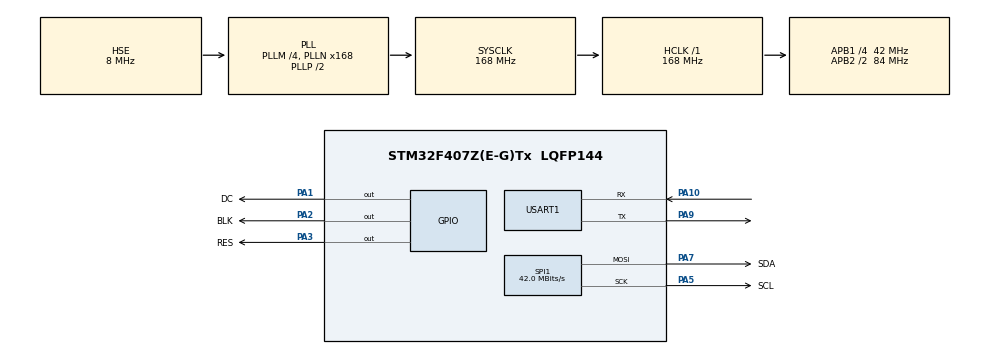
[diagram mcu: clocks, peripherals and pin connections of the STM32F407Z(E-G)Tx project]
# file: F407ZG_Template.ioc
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Dma.Request0=SPI1_TX
Dma.SPI1_TX.0.Direction=DMA_MEMORY_TO_PERIPH
Dma.SPI1_TX.0.FIFOMode=DMA_FIFOMODE_DISABLE
Dma.SPI1_TX.0.Instance=DMA2_Stream3
Dma.SPI1_TX.0.MemDataAlignment=DMA_MDATAALIGN_BYTE
Dma.SPI1_TX.0.MemInc=DMA_MINC_ENABLE
Dma.SPI1_TX.0.Mode=DMA_NORMAL
Dma.SPI1_TX.0.PeriphDataAlignment=DMA_PDATAALIGN_BYTE
Dma.SPI1_TX.0.PeriphInc=DMA_PINC_DISABLE
Dma.SPI1_TX.0.Priority=DMA_PRIORITY_LOW
Mcu.Family=STM32F4
Mcu.Name=STM32F407Z(E-G)Tx
Mcu.Package=LQFP144
NVIC.DMA2_Stream3_IRQn=true\:0\:0\:false\:false\:true\:false\:true
NVIC.PriorityGroup=NVIC_PRIORITYGROUP_4
NVIC.USART1_IRQn=true\:0\:0\:false\:false\:true\:true\:true
PA1.GPIO_Label=DC
PA1.GPIO_PuPd=GPIO_PULLUP
PA1.PinState=GPIO_PIN_SET
PA1.Signal=GPIO_Output
PA10.Mode=Asynchronous
PA10.Signal=USART1_RX
PA13.Mode=Serial_Wire
PA13.Signal=SYS_JTMS-SWDIO
PA14.Mode=Serial_Wire
PA14.Signal=SYS_JTCK-SWCLK
PA2.GPIO_Label=BLK
PA2.GPIO_PuPd=GPIO_PULLUP
PA2.PinState=GPIO_PIN_SET
PA2.Signal=GPIO_Output
PA3.GPIO_Label=RES
PA3.GPIO_PuPd=GPIO_PULLUP
PA3.PinState=GPIO_PIN_SET
PA3.Signal=GPIO_Output
PA5.GPIO_Label=SCL
PA5.Mode=TX_Only_Simplex_Unidirect_Master
PA5.Signal=SPI1_SCK
PA7.GPIO_Label=SDA
PA7.Mode=TX_Only_Simplex_Unidirect_Master
PA7.Signal=SPI1_MOSI
PA9.Mode=Asynchronous
PA9.Signal=USART1_TX
PH0-OSC_IN.Mode=HSE-External-Oscillator
PH0-OSC_IN.Signal=RCC_OSC_IN
PH1-OSC_OUT.Mode=HSE-External-Oscillator
PH1-OSC_OUT.Signal=RCC_OSC_OUT
ProjectManager.HeapSize=0x1000
ProjectManager.StackSize=0x1000
ProjectManager.TargetToolchain=MDK-ARM V5
RCC.48MHZClocksFreq_Value=84000000
RCC.AHBFreq_Value=168000000
RCC.APB1CLKDivider=RCC_HCLK_DIV4
RCC.APB1Freq_Value=42000000
RCC.APB1TimFreq_Value=84000000
RCC.APB2CLKDivider=RCC_HCLK_DIV2
RCC.APB2Freq_Value=84000000
RCC.APB2TimFreq_Value=168000000
RCC.CortexFreq_Value=168000000
RCC.HCLKFreq_Value=168000000
RCC.HSE_VALUE=8000000
RCC.HSI_VALUE=16000000
RCC.LSE_VALUE=32768
RCC.PLLM=4
RCC.PLLN=168
RCC.PLLSourceVirtual=RCC_PLLSOURCE_HSE
RCC.SYSCLKFreq_VALUE=168000000
RCC.SYSCLKSource=RCC_SYSCLKSOURCE_PLLCLK
RCC.VCOOutputFreq_Value=336000000
SPI1.BaudRatePrescaler=SPI_BAUDRATEPRESCALER_2
SPI1.CLKPhase=SPI_PHASE_2EDGE
SPI1.CLKPolarity=SPI_POLARITY_HIGH
SPI1.CalculateBaudRate=42.0 MBits/s
SPI1.Direction=SPI_DIRECTION_2LINES
SPI1.Mode=SPI_MODE_MASTER
SPI1.VirtualType=VM_MASTER
USART1.VirtualMode=VM_ASYNC
board=custom

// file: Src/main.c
/* USER CODE BEGIN Header */
/**
  ******************************************************************************
  * @file           : main.c
  * @brief          : Main program body
  ******************************************************************************
  * @attention
  *
  * <h2><center>&copy; Copyright (c) 2021 STMicroelectronics.
  * All rights reserved.</center></h2>
  *
  * This software component is licensed by ST under BSD 3-Clause license,
  * the "License"; You may not use this file except in compliance with the
  * License. You may obtain a copy of the License at:
  *                        opensource.org/licenses/BSD-3-Clause
  *
  ******************************************************************************
  */
/* USER CODE END Header */
#include "main.h"
#include "dma.h"
#include "spi.h"
#include "usart.h"
#include "gpio.h"

/* USER CODE BEGIN Includes */
#include <stdio.h>
#include "delay.h"
#include "drv_oled.h"
#include "drv_lcd.h"
#include "lcd_pic.h"
/* USER CODE END Includes */

void SystemClock_Config(void);
/* USER CODE BEGIN PFP */
#if 0 //GUI_LITE
void gfx_draw_pixel(int x, int y, unsigned int rgb)
{
    OLED_DrawPoint(x,y,rgb);
}
void gfx_draw_fill(int x, int y,int w, int q, unsigned int rgb)
{
}

struct EXTERNAL_GFX_OP
{
	void (*draw_pixel)(int x, int y, unsigned int rgb);
	void (*fill_rect)(int x0, int y0, int x1, int y1, unsigned int rgb);
} my_gfx_op;
//extern void startHelloCircle(void* phy_fb, int width, int height, int color_bytes, struct EXTERNAL_GFX_OP* gfx_op);
extern void startHello3D(void* phy_fb, int width, int height, int color_bytes, struct EXTERNAL_GFX_OP* gfx_op);

void delay_ms(int milli_seconds)
{
	wait_ms(milli_seconds);
}
#endif
/* USER CODE END PFP */

int main(void)
{

  /* MCU Configuration--------------------------------------------------------*/

  /* Reset of all peripherals, Initializes the Flash interface and the Systick. */
  HAL_Init();

  /* Configure the system clock */
  SystemClock_Config();

  /* Initialize all configured peripherals */
  MX_GPIO_Init();
  MX_USART1_UART_Init();
  MX_DMA_Init();
  MX_SPI1_Init();
  /* USER CODE BEGIN 2 */
#if 0
	OLED_Init();

	printf("hello world!\n");

	my_gfx_op.draw_pixel = gfx_draw_pixel;
	my_gfx_op.fill_rect = NULL;//gfx_fill_rect;
	//startHelloCircle(NULL, 128, 64, 1, &my_gfx_op);
  startHello3D(NULL, 128, 64, 1, &my_gfx_op);
#endif

  LCD_Init();
  LCD_ShowPicture(0, 0, 240, 240, gImage_pic2);
  LCD_ShowString(25, 50, "hello world!", WHITE, BLACK, 32, 1);
  /* USER CODE END 2 */

  /* Infinite loop */
  while (1)
  {

    /* USER CODE BEGIN 3 */
    wait_ms(100);
  }
  /* USER CODE END 3 */
}

void SystemClock_Config(void)
{
  RCC_OscInitTypeDef RCC_OscInitStruct = {0};
  RCC_ClkInitTypeDef RCC_ClkInitStruct = {0};

  /** Configure the main internal regulator output voltage
  */
  __HAL_RCC_PWR_CLK_ENABLE();
  __HAL_PWR_VOLTAGESCALING_CONFIG(PWR_REGULATOR_VOLTAGE_SCALE1);
  /** Initializes the RCC Oscillators according to the specified parameters
  * in the RCC_OscInitTypeDef structure.
  */
  RCC_OscInitStruct.OscillatorType = RCC_OSCILLATORTYPE_HSE;
  RCC_OscInitStruct.HSEState = RCC_HSE_ON;
  RCC_OscInitStruct.PLL.PLLState = RCC_PLL_ON;
  RCC_OscInitStruct.PLL.PLLSource = RCC_PLLSOURCE_HSE;
  RCC_OscInitStruct.PLL.PLLM = 4;
  RCC_OscInitStruct.PLL.PLLN = 168;
  RCC_OscInitStruct.PLL.PLLP = RCC_PLLP_DIV2;
  RCC_OscInitStruct.PLL.PLLQ = 4;
  if (HAL_RCC_OscConfig(&RCC_OscInitStruct) != HAL_OK)
  {
    Error_Handler();
  }
  /** Initializes the CPU, AHB and APB buses clocks
  */
  RCC_ClkInitStruct.ClockType = RCC_CLOCKTYPE_HCLK | RCC_CLOCKTYPE_SYSCLK | RCC_CLOCKTYPE_PCLK1 | RCC_CLOCKTYPE_PCLK2;
  RCC_ClkInitStruct.SYSCLKSource = RCC_SYSCLKSOURCE_PLLCLK;
  RCC_ClkInitStruct.AHBCLKDivider = RCC_SYSCLK_DIV1;
  RCC_ClkInitStruct.APB1CLKDivider = RCC_HCLK_DIV4;
  RCC_ClkInitStruct.APB2CLKDivider = RCC_HCLK_DIV2;

  if (HAL_RCC_ClockConfig(&RCC_ClkInitStruct, FLASH_LATENCY_5) != HAL_OK)
  {
    Error_Handler();
  }
}

void Error_Handler(void)
{
  __disable_irq();
  while (1)
  {
  }
}

/************************ (C) COPYRIGHT STMicroelectronics *****END OF FILE****/
